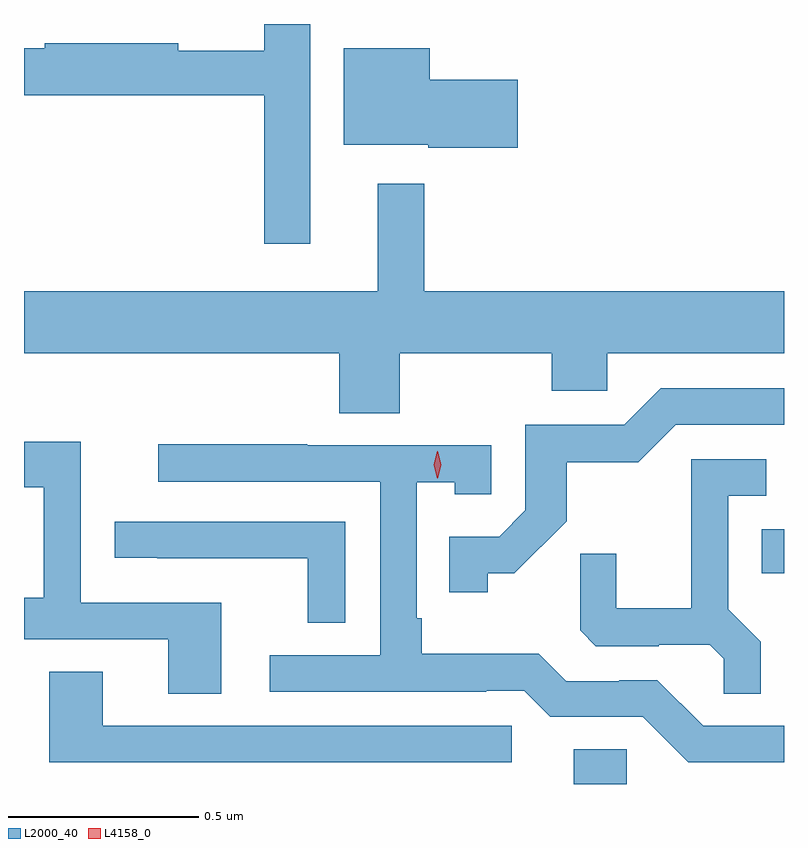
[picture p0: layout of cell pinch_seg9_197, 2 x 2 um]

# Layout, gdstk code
import gdstk
lib = gdstk.Library(unit=1e-6, precision=1e-09)
def R(c, l, rs):  # rectangles x0, y0, x1, y1
    for r in rs: c.add(gdstk.rectangle(r[:2], r[2:], *l))
def P(c, l, *ps):  # polygons
    for p in ps: c.add(gdstk.Polygon(p, *l))
L2000_40 = (2000, 40)
L4158_0 = (4158, 0)

pinch_seg9_197 = lib.new_cell('pinch_seg9_197')
R(pinch_seg9_197, L2000_40, [(559.691,1231.251,559.83,1231.343), (560.186,1231.805,560.244,1231.921)])
P(pinch_seg9_197, L2000_40, [(558.997,1233.251),(558.876,1233.251),(558.876,1233.181),(558.65,1233.181),(558.65,1233.2),(558.298,1233.2),(558.298,1233.187),(558.244,1233.187),(558.244,1233.064),(558.876,1233.064),(558.876,1232.673),(558.997,1232.673)],
  [(559.543,1233.104),(559.312,1233.104),(559.312,1233.187),(559.085,1233.187),(559.085,1232.933),(559.308,1232.933),(559.308,1232.926),(559.543,1232.926)],
  [(559.233,1232.384),(559.633,1232.384),(559.633,1232.286),(559.779,1232.286),(559.779,1232.384),(560.244,1232.384),(560.244,1232.548),(559.297,1232.548),(559.297,1232.83),(559.175,1232.83),(559.175,1232.548),(558.244,1232.548),(558.244,1232.384),(559.073,1232.384),(559.073,1232.227),(559.233,1232.227)],
  [(559.464,1231.805),(559.534,1231.805),(559.672,1231.942),(559.672,1232.098),(559.861,1232.098),(559.959,1232.196),(560.244,1232.196),(560.244,1232.292),(559.92,1232.292),(559.824,1232.196),(559.563,1232.196),(559.563,1231.971),(559.494,1231.902),(559.363,1231.902),(559.363,1231.755),(559.464,1231.755)],
  [(558.763,1231.728),(558.393,1231.728),(558.393,1232.152),(558.244,1232.152),(558.244,1232.032),(558.296,1232.032),(558.296,1231.741),(558.244,1231.741),(558.244,1231.632),(558.623,1231.632),(558.623,1231.489),(558.763,1231.489)],
  [(560.244,1231.404),(560.031,1231.404),(559.911,1231.524),(559.81,1231.524),(559.81,1231.521),(559.671,1231.521),(559.598,1231.594),(559.291,1231.594),(559.291,1231.687),(559.278,1231.687),(559.278,1232.045),(559.377,1232.045),(559.377,1232.013),(559.473,1232.013),(559.473,1232.142),(558.989,1232.142),(558.989,1232.145),(558.597,1232.145),(558.597,1232.046),(559.182,1232.046),(559.182,1231.59),(558.891,1231.59),(558.891,1231.494),(559.46,1231.494),(559.46,1231.497),(559.56,1231.497),(559.629,1231.428),(559.872,1231.428),(559.992,1231.308),(560.244,1231.308)],
  [(560.183,1231.625),(560.097,1231.711),(560.097,1232.01),(560.197,1232.01),(560.197,1232.106),(560,1232.106),(560,1231.714),(559.802,1231.714),(559.802,1231.857),(559.708,1231.857),(559.708,1231.655),(559.749,1231.614),(559.914,1231.614),(559.914,1231.617),(560.048,1231.617),(560.085,1231.58),(560.085,1231.489),(560.183,1231.489)],
  [(559.089,1231.941),(558.483,1231.941),(558.483,1231.846),(558.595,1231.846),(558.595,1231.845),(558.991,1231.845),(558.991,1231.675),(559.089,1231.675)],
  [(559.528,1231.404),(558.451,1231.404),(558.451,1231.547),(558.311,1231.547),(558.311,1231.308),(559.528,1231.308)])
P(pinch_seg9_197, L4158_0, [(559.332,1232.055),(559.332,1232.055),(559.322,1232.091),(559.332,1232.127),(559.332,1232.127),(559.333,1232.127),(559.342,1232.091),(559.333,1232.055)])

lib.write_gds('pinch_seg9_197.gds')
